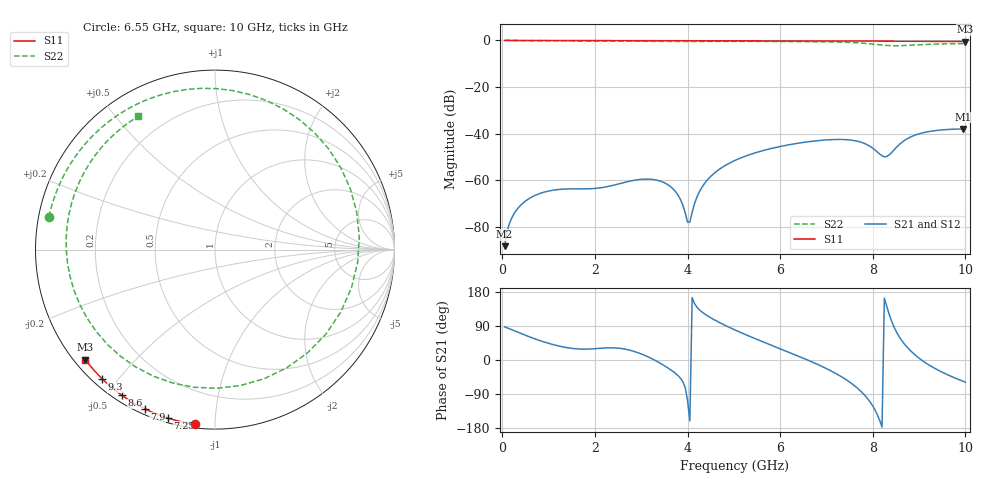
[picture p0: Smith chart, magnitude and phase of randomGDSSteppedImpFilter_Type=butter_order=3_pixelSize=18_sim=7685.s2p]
! freq	dB(S11)	phase(S11)	dB(S12)	phase(S12)
!  dB(S21)	phase(S21)	dB(S22)	phase(S22)
!S-par simulation data
#  GHz  S  DB  R 50
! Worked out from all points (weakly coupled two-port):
!   200 points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, 50 MHz to 10 GHz, reference 50 ohm
!   highest |S21| = -37.98 dB at 9.95 GHz (marker M1); lowest = -88.2 dB at 50 MHz (marker M2)
!   lowest |S11| = -0.5 dB at 10 GHz (marker M3), VSWR 36.77, Z = 1.54 - j18.3 ohm
!   |S11| at or under -10 dB: nowhere
!   |S22| runs from -2.3 to 0.0 dB; largest |S21 - S12| = 0
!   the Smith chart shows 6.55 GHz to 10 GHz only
!   S11 on the Smith chart (normalised r, x): 6.55 GHz: 0.02, -0.89; 7.25 GHz: 0.02, -0.76; 7.9 GHz: 0.02, -0.65; 8.6 GHz: 0.02, -0.55; 9.3 GHz: 0.03, -0.45; 10 GHz: 0.03, -0.37
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0.05  -0.00 -0.8  -88.24 87.5  -88.24 87.5  -0.01 -4.4
0.9  -0.02 -14.4  -65.07 47.7  -65.07 47.7  -0.10 -75.5
1.75  -0.04 -27.9  -63.65 28.7  -63.65 28.7  -0.17 -142.5
2.55  -0.05 -40.2  -61.34 30.7  -61.34 30.7  -0.27 149.6
3  -0.06 -47.0  -59.57 16.0  -59.57 16.0  -0.35 103.6
3.4  -0.07 -53.0  -60.26 -7.8  -60.26 -7.8  -0.42 57.3
3.75  -0.08 -58.1  -65.07 -36.4  -65.07 -36.4  -0.45 15.4
4.05  -0.09 -62.5  -77.91 -160.7  -77.91 -160.7  -0.46 -18.3
4.35  -0.10 -66.8  -61.82 123.2  -61.82 123.2  -0.44 -48.4
5.05  -0.12 -76.6  -51.23 77.9  -51.23 77.9  -0.42 -104.1
5.8  -0.15 -86.8  -46.38 39.5  -46.38 39.5  -0.43 -149.5
6.55  -0.18 -96.7  -43.60 2.3  -43.60 2.3  -0.51 168.9
6.7  -0.19 -98.6  -43.22 -5.7  -43.22 -5.7  -0.53 160.0
7.25  -0.22 -105.7  -42.46 -38.9  -42.46 -38.9  -0.70 122.2
7.9  -0.27 -113.9  -44.95 -103.8  -44.95 -103.8  -1.36 49.7
8.15  -0.29 -117.0  -48.75 -159.6  -48.75 -159.6  -1.86 5.0
8.35  -0.31 -119.5  -49.17 122.3  -49.17 122.3  -2.20 -37.2
8.6  -0.33 -122.5  -44.17 56.0  -44.17 56.0  -2.24 -89.2
8.95  -0.36 -126.9  -40.35 9.6  -40.35 9.6  -1.90 -145.5
9.3  -0.39 -131.1  -38.81 -19.4  -38.81 -19.4  -1.60 175.5
9.95  -0.47 -139.1  -37.98 -56.2  -37.98 -56.2  -1.35 123.5
10  -0.47 -139.7  -37.99 -58.6  -37.99 -58.6  -1.34 120.0
